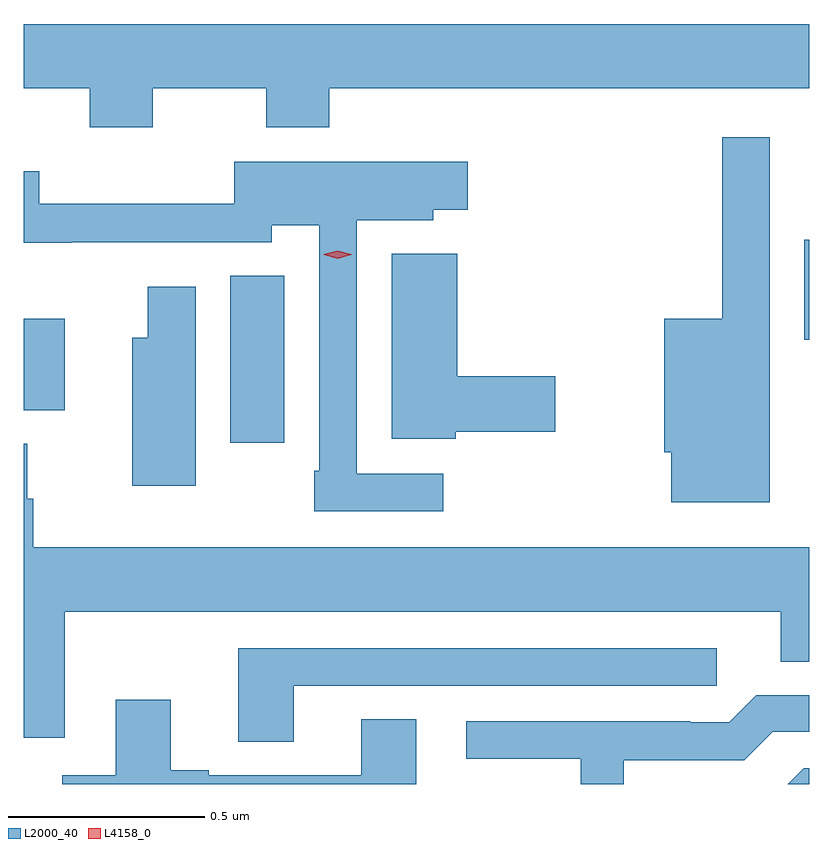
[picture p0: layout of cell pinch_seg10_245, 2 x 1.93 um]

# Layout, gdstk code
import gdstk
lib = gdstk.Library(unit=1e-6, precision=1e-09)
def R(c, l, rs):  # rectangles x0, y0, x1, y1
    for r in rs: c.add(gdstk.rectangle(r[:2], r[2:], *l))
def P(c, l, *ps):  # polygons
    for p in ps: c.add(gdstk.Polygon(p, *l))
L2000_40 = (2000, 40)
L4158_0 = (4158, 0)

pinch_seg10_245 = lib.new_cell('pinch_seg10_245')
R(pinch_seg10_245, L2000_40, [(618.452,1295.418,618.589,1295.843), (617.926,1295.501,618.031,1295.734), (619.913,1295.681,619.926,1295.935)])
P(pinch_seg10_245, L2000_40, [(618.255,1296.32),(618.544,1296.32),(618.544,1296.221),(618.704,1296.221),(618.704,1296.32),(619.926,1296.32),(619.926,1296.484),(617.926,1296.484),(617.926,1296.32),(618.095,1296.32),(618.095,1296.221),(618.255,1296.221)],
  [(619.825,1296.196),(619.704,1296.196),(619.704,1295.734),(619.556,1295.734),(619.556,1295.394),(619.574,1295.394),(619.574,1295.267),(619.825,1295.267)],
  [(618.994,1295.34),(618.774,1295.34),(618.774,1295.984),(618.969,1295.984),(618.969,1296.011),(619.057,1296.011),(619.057,1296.133),(618.462,1296.133),(618.462,1296.026),(617.966,1296.026),(617.966,1296.109),(617.926,1296.109),(617.926,1295.927),(618.049,1295.927),(618.049,1295.928),(618.558,1295.928),(618.558,1295.972),(618.678,1295.972),(618.678,1295.347),(618.666,1295.347),(618.666,1295.244),(618.994,1295.244)],
  [(619.026,1295.446),(619.279,1295.446),(619.279,1295.588),(619.03,1295.588),(619.03,1295.899),(618.863,1295.899),(618.863,1295.429),(619.026,1295.429)],
  [(618.364,1295.815),(618.242,1295.815),(618.242,1295.686),(618.203,1295.686),(618.203,1295.309),(618.364,1295.309)],
  [(618.031,1294.988),(619.853,1294.988),(619.853,1294.861),(619.926,1294.861),(619.926,1295.152),(617.951,1295.152),(617.951,1295.276),(617.936,1295.276),(617.936,1295.416),(617.926,1295.416),(617.926,1294.668),(618.031,1294.668)],
  [(618.613,1294.8),(619.69,1294.8),(619.69,1294.896),(618.473,1294.896),(618.473,1294.657),(618.613,1294.657)],
  [(619.453,1294.61),(619.76,1294.61),(619.833,1294.683),(619.926,1294.683),(619.926,1294.776),(619.791,1294.776),(619.722,1294.707),(619.622,1294.707),(619.622,1294.71),(619.053,1294.71),(619.053,1294.614),(619.344,1294.614),(619.344,1294.55),(619.453,1294.55)],
  [(618.925,1294.715),(618.785,1294.715),(618.785,1294.572),(618.397,1294.572),(618.397,1294.585),(618.301,1294.585),(618.301,1294.765),(618.161,1294.765),(618.161,1294.572),(618.024,1294.572),(618.024,1294.55),(618.925,1294.55)],
  [(619.926,1294.59),(619.911,1294.59),(619.871,1294.55),(619.926,1294.55)])
P(pinch_seg10_245, L4158_0, [(618.725,1295.887),(618.69,1295.897),(618.69,1295.897),(618.69,1295.898),(618.725,1295.907),(618.76,1295.898),(618.761,1295.897),(618.76,1295.897)])

lib.write_gds('pinch_seg10_245.gds')
